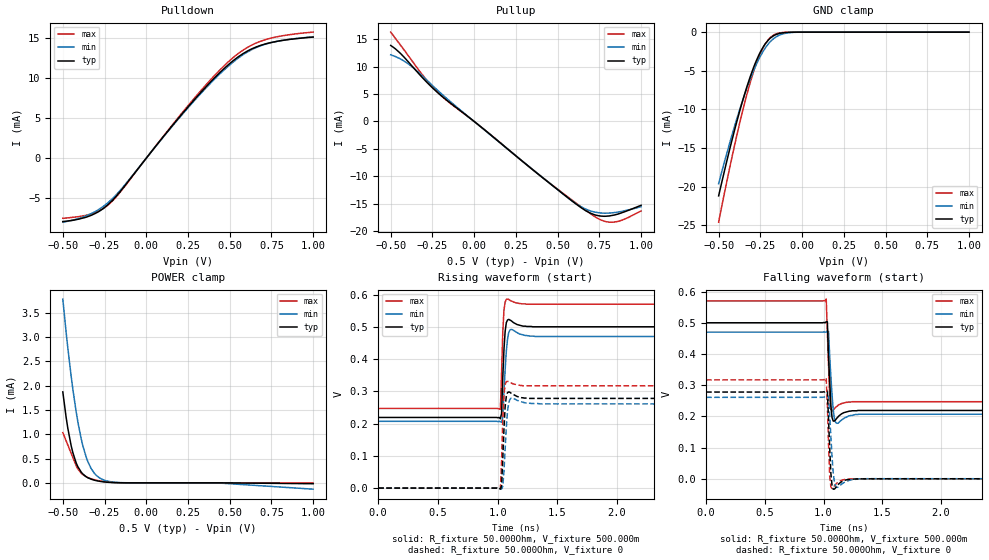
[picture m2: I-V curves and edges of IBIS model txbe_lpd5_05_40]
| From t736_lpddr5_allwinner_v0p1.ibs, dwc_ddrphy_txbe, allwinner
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[Model] txbe_lpd5_05_40
Model_type   I/O
Polarity   Non-Inverting
Enable   Active-High
C_comp   1.521pF   1.516pF   1.523pF
C_comp_pullup   283.980fF   278.357fF   289.111fF
C_comp_pulldown   1.177pF   1.173pF   1.178pF
Vinh = 310.000mV
Vinl = 190.000mV
Vmeas = 250.000mV
Vref = 250.000mV
Rref = 50Ohms
Cref = 0pF
[Model Spec]
Vinh   310.000mV   295.000mV   345.000mV
Vinl   190.000mV   175.000mV   225.000mV
Vmeas   250.000mV   235.000mV   285.000mV
Vref   250.000mV   235.000mV   285.000mV
D_overshoot_ampl_h 0.1 NA   NA
D_overshoot_ampl_l 0.1 NA   NA
D_overshoot_area_l 300.000m NA   NA
D_overshoot_area_h 300.000m NA   NA
[Receiver Thresholds]
Vth = 125.000mV
Vth_min = 118.000mV
Vth_max = 143.000mV
Vinh_ac = 60.000mV
Vinh_dc = 60.000mV
Vinl_ac = -60.000mV
Vinl_dc = -60.000mV
Tslew_ac = 5.000ns
Threshold_sensitivity = 0.5
Reference_supply Pullup_ref
[Temperature Range]   25.000   125.000   -40.000
[Voltage Range]   500.000mV   470.000mV   570.000mV
[GND Clamp Reference]   0.00V   0.00V   0.00V
[C Comp Corner]
| variable   typ   min   max
C_comp   1.521pF   1.516pF   1.523pF
C_comp_pullup   283.980fF   278.357fF   289.111fF
C_comp_pulldown   1.177pF   1.173pF   1.178pF
[Pulldown Reference]   0.00V   0.00V   0.00V
[POWER Clamp Reference]   500.000mV   470.000mV   570.000mV
[Pullup Reference]   500.000mV   470.000mV   570.000mV
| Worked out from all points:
|   slope of the pulldown table from 0 to 0.075 V, typ, clamps not added: 38 ohm
|   slope of the pullup table from 0 to 0.075 V, typ, clamps not added: 40.7 ohm
|   GND clamp passes 1 mA (typ) near -0.20 V on its own axis
|   POWER clamp passes 1 mA (typ) near -0.46 V on its own axis
|   rising waveform, R_fixture 50.000Ohm, V_fixture 500.000m: 20-80 % time 18.6ps typ, 23.6ps min, 17.4ps max; typ from 0.219 V to 0.5 V
|   rising waveform, R_fixture 50.000Ohm, V_fixture 0: 20-80 % time 19.7ps typ, 23.8ps min, 17.5ps max; typ from 0 V to 0.278 V
|   falling waveform, R_fixture 50.000Ohm, V_fixture 500.000m: 20-80 % time 19.5ps typ, 25ps min, 17.9ps max; typ from 0.5 V to 0.219 V
|   falling waveform, R_fixture 50.000Ohm, V_fixture 0: 20-80 % time 19ps typ, 24.7ps min, 16.7ps max; typ from 0.278 V to 0 V
[GND Clamp]
-500mV    -21.19mA   -19.61mA   -24.6mA
-450mV    -16.59mA   -15.61mA   -19.24mA
-400mV    -12.31mA   -11.86mA   -14.21mA
-360mV    -9.162mA   -9.095mA   -10.52mA
-330mV    -7.024mA   -7.2mA     -8.001mA
-290mV    -4.538mA   -4.96mA    -5.07mA
-260mV    -3.008mA   -3.535mA   -3.266mA
-230mV    -1.811mA   -2.361mA   -1.867mA
-190mV    -763.4uA   -1.219mA   -686.8uA
-130mV    -137.4uA   -333.9uA   -84.17uA
-50mV     -6.966uA   -28.44uA   -2.488uA
1V        1.073uA    8.225uA    320nA
[Power Clamp]
-500mV    1.872mA    3.782mA    1.035mA
-480mV    1.347mA    3.098mA    864.4uA
-450mV    765.9uA    2.197mA    609.1uA
-420mV    411.7uA    1.464mA    353.8uA
-390mV    221.9uA    911uA      199.1uA
-350mV    105.4uA    437.4uA    109.2uA
-310mV    53.9uA     193.6uA    63.6uA
-280mV    32.32uA    102.1uA    40.75uA
-240mV    14.94uA    42.5uA     19.78uA
-160mV    1.814uA    6.334uA    2.095uA
440mV     -336.4nA   -5.746uA   -49.23nA
1V        -17.55uA   -129.9uA   -3.392uA
[Pulldown]
-500mV    -7.9mA     -7.98mA    -7.49mA
-330mV    -7.124mA   -6.915mA   -6.946mA
-280mV    -6.596mA   -6.328mA   -6.54mA
-220mV    -5.615mA   -5.375mA   -5.675mA
-130mV    -3.477mA   -3.376mA   -3.548mA
110mV     2.881mA    2.834mA    2.943mA
290mV     7.342mA    7.223mA    7.53mA
430mV     10.46mA    10.29mA    10.77mA
550mV     12.63mA    12.47mA    13.04mA
630mV     13.62mA    13.52mA    14.09mA
720mV     14.29mA    14.26mA    14.83mA
1V        15.11mA    15.14mA    15.73mA
[Pullup]
-500mV    13.84mA    12.13mA    16.27mA
-440mV    12.33mA    11.34mA    13.84mA
-380mV    10.35mA    10.14mA    11.36mA
-280mV    7.021mA    7.408mA    7.364mA
-190mV    4.507mA    4.874mA    4.484mA
530mV     -13.12mA   -13.14mA   -13.01mA
610mV     -15.01mA   -14.96mA   -14.85mA
660mV     -16.08mA   -15.84mA   -15.98mA
730mV     -17.06mA   -16.54mA   -17.46mA
810mV     -17.2mA    -16.67mA   -18.33mA
890mV     -16.56mA   -16.33mA   -17.91mA
1V        -15.26mA   -15.51mA   -16.3mA
[Ramp]
R_load=50.000Ohm
dV/dt_r   167.690mV/18.500ps  157.127mV/24.000ps  191.998mV/16.500ps
dV/dt_f   167.690mV/19.500ps  157.127mV/25.000ps  191.998mV/16.000ps
[Rising waveform]
R_fixture=50.000Ohm
V_fixture=500.000m
V_fixture_min=470.000m
V_fixture_max=570.000m
0s        219mV      207mV      247mV
1.023ns   215mV      206mV      244mV
1.033ns   231mV      204mV      355mV
1.043ns   341mV      219mV      481mV
1.053ns   429mV      298mV      551mV
1.063ns   486mV      367mV      577mV
1.083ns   521mV      462mV      586mV
1.113ns   519mV      492mV      580mV
1.313ns   500mV      470mV      570mV
10ns      500mV      470mV      570mV
[Rising waveform]
R_fixture=50.000Ohm
V_fixture=0
0s        31.91uV    243.8uV    6.263uV
1.023ns   -3.359mV   -924uV     -2.787mV
1.033ns   5.813mV    -3.125mV   79.96mV
1.043ns   89.06mV    4.998mV    208mV
1.053ns   182mV      52.2mV     291mV
1.063ns   253mV      119mV      321mV
1.083ns   296mV      239mV      331mV
1.123ns   292mV      280mV      324mV
1.353ns   278mV      261mV      317mV
10ns      278mV      261mV      317mV
[Falling waveform]
R_fixture=50.000Ohm
V_fixture=500.000m
V_fixture_min=470.000m
V_fixture_max=570.000m
0s        500mV      470mV      570mV
1.023ns   503mV      470mV      576mV
1.033ns   503mV      473mV      472mV
1.043ns   388mV      472mV      359mV
1.053ns   311mV      391mV      258mV
1.073ns   196mV      268mV      217mV
1.093ns   185mV      193mV      225mV
1.113ns   194mV      178mV      232mV
1.303ns   219mV      207mV      247mV
10ns      219mV      207mV      247mV
[Falling waveform]
R_fixture=50.000Ohm
V_fixture=0
0s        278mV      261mV      317mV
1.023ns   280mV      262mV      323mV
1.033ns   281mV      264mV      234mV
1.043ns   184mV      264mV      109mV
1.053ns   95.95mV    199mV      7.772mV
1.073ns   -21.61mV   68.46mV    -30.99mV
1.093ns   -33.05mV   -11.01mV   -22.44mV
1.113ns   -23.73mV   -27.55mV   -14.09mV
1.373ns   -81.26uV   324.7uV    -62.73uV
10ns      34.46uV    244.3uV    7.465uV
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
